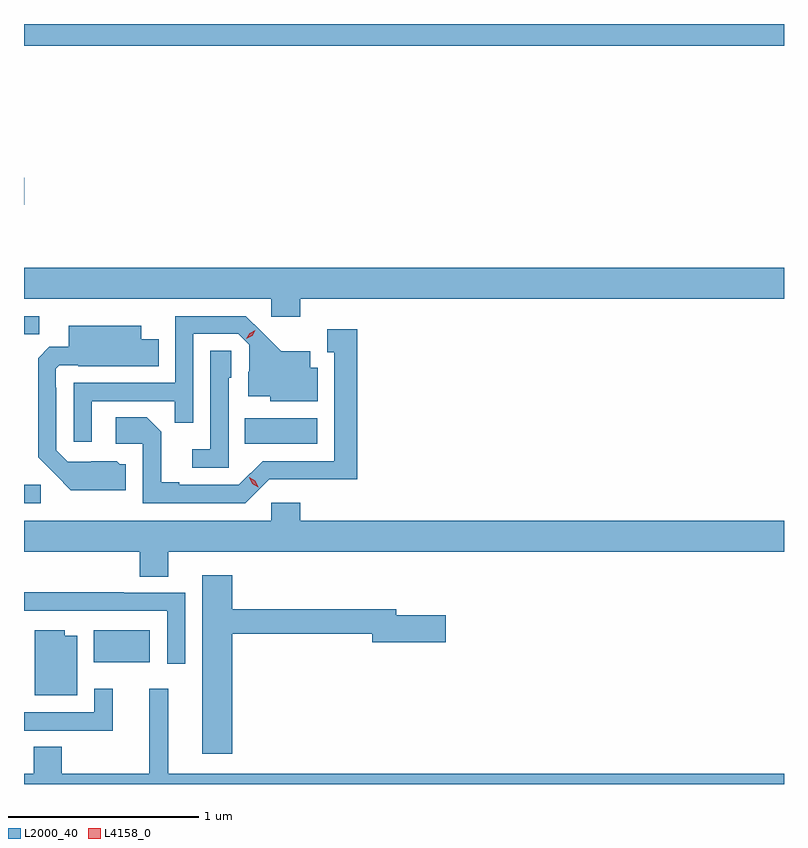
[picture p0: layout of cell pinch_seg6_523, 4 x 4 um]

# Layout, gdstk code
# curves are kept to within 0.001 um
import gdstk
lib = gdstk.Library(unit=1e-6, precision=1e-09)
def R(c, l, rs):  # rectangles x0, y0, x1, y1
    for r in rs: c.add(gdstk.rectangle(r[:2], r[2:], *l))
def P(c, l, *ps):  # polygons
    for p in ps: c.add(gdstk.Polygon(p, *l))
L2000_40 = (2000, 40)
L4158_0 = (4158, 0)

pinch_seg6_523 = lib.new_cell('pinch_seg6_523')
R(pinch_seg6_523, L2000_40, [(782.372,949.418,782.665,949.588), (782.004,950.256,782.092,950.352), (783.166,950.57,783.547,950.704), (782.004,951.145,782.085,951.24), (782.004,951.826,782.005,951.968), (782.004,952.664,786.004,952.778)])
P(pinch_seg6_523, L2000_40, [(783.458,951.332),(786.004,951.332),(786.004,951.496),(782.004,951.496),(782.004,951.332),(783.306,951.332),(783.306,951.237),(783.458,951.237)],
  [(782.361,950.793),(782.797,950.793),(782.797,950.68),(782.895,950.68),(782.895,951.147),(783.132,951.147),(783.189,951.09),(783.189,950.948),(783.185,950.948),(783.185,950.819),(783.3,950.819),(783.3,950.792),(783.55,950.792),(783.55,950.968),(783.511,950.968),(783.511,951.055),(783.359,951.055),(783.172,951.24),(782.799,951.24),(782.799,950.889),(782.265,950.889),(782.265,950.58),(782.361,950.58)],
  [(782.539,950.46),(782.508,950.46),(782.492,950.476),(782.235,950.475),(782.175,950.535),(782.175,950.864),(782.172,950.864),(782.172,950.964),(782.19,950.982),(782.29,950.982),(782.29,950.978),(782.714,950.978),(782.714,951.118),(782.62,951.118),(782.62,951.19),(782.24,951.19),(782.24,951.079),(782.138,951.079),(782.079,951.02),(782.079,950.498),(782.251,950.324),(782.539,950.324)],
  [(783.294,950.382),(783.757,950.381),(783.757,951.172),(783.599,951.172),(783.599,951.051),(783.638,951.051),(783.638,950.478),(783.261,950.478),(783.135,950.352),(782.821,950.352),(782.821,950.365),(782.727,950.365),(782.727,950.632),(782.651,950.708),(782.487,950.708),(782.487,950.568),(782.628,950.568),(782.628,950.256),(783.168,950.256)],
  [(783.081,950.916),(783.096,950.916),(783.096,951.059),(782.985,951.059),(782.985,950.539),(782.889,950.539),(782.889,950.442),(783.081,950.442)],
  [(782.764,950),(786.004,950),(786.004,950.164),(783.458,950.164),(783.458,950.257),(783.306,950.257),(783.306,950.164),(782.004,950.164),(782.004,950),(782.612,950),(782.612,949.87),(782.764,949.87)],
  [(783.101,949.57),(783.836,949.57),(783.836,949.523),(784.225,949.523),(784.225,949.665),(783.964,949.665),(783.964,949.699),(783.101,949.699),(783.101,949.876),(782.942,949.876),(782.942,948.936),(783.101,948.936)],
  [(782.853,949.785),(782.528,949.785),(782.528,949.787),(782.004,949.787),(782.004,949.689),(782.757,949.689),(782.757,949.41),(782.853,949.41)],
  [(782.284,949.558),(782.218,949.558),(782.218,949.588),(782.06,949.588),(782.06,949.244),(782.284,949.244)],
  [(782.471,949.279),(782.373,949.279),(782.373,949.155),(782.004,949.155),(782.004,949.059),(782.471,949.059)],
  [(786.004,948.832),(782.762,948.832),(782.762,949.279),(782.663,949.279),(782.663,948.832),(782.202,948.832),(782.202,948.974),(782.054,948.974),(782.054,948.832),(782.004,948.832),(782.004,948.778),(786.004,948.778)])
P(pinch_seg6_523, L4158_0, [(783.237,950.34),(783.205,950.359),(783.189,950.392),(783.189,950.392),(783.189,950.392),(783.22,950.373),(783.237,950.34),(783.237,950.34)],
  [(783.174,951.121),(783.174,951.122),(783.191,951.151),(783.222,951.166),(783.222,951.166),(783.222,951.166),(783.205,951.136),(783.174,951.121)])

lib.write_gds('pinch_seg6_523.gds')
